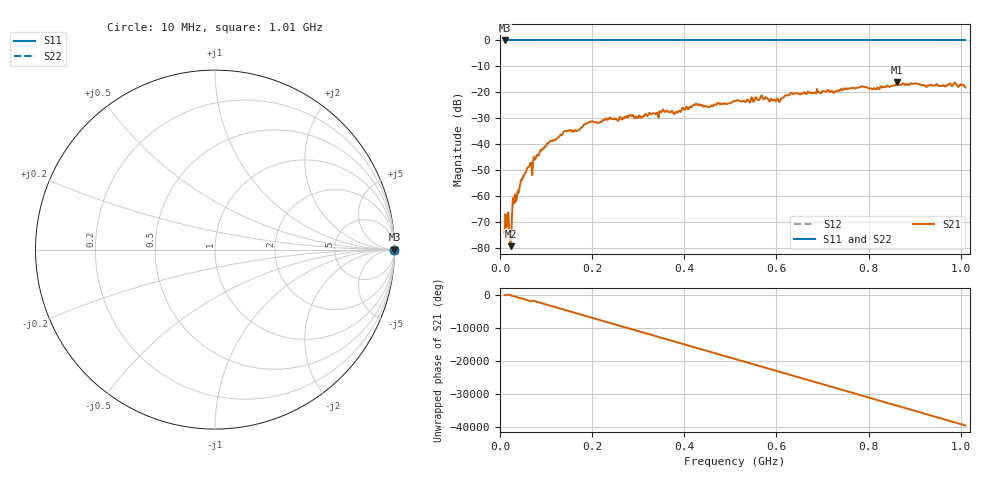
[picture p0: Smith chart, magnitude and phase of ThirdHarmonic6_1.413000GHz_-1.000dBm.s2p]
! 8/16/2025 4:12:52 PM
! C:\ANRITSUVNA\TEMP\TEMP.S2P
! CHANNEL.1
! TR.MEASUREMENT
! RAW.DATA
! RF.CORRECTION.OFF
! AVERAGING.OFF
! IF.BANDWIDTH: 5KHZ
! SWEEPTYPE:  FREQ.SWEEP(Linear)
! Reference Plane Port Info
! PORT:  PORT1  PORT2
! DISTANCE:  0  m  0  m
! TIME:  0  s  0  s
! PHASE.OFFSET:  0  deg.  0  deg.
! LOSS:  0  dB  0  dB
! REF.LOSS:  0  dB  0  dB
! REF.FREQ:  0  Hz  0  Hz
! Power Info
! POWER:  -20  dBm  -20  dBm
! EFF.POWER:  -20  dBm  -20  dBm
! SOURCE.ATTEN:  0  dB  0  dB
! TEST.ATTEN:  0  dB  0  dB
# GHZ S RI R 50.0
! FREQ.GHZ  S11RE  S11IM  S21RE  S21IM  S12RE  S12IM  S22RE  S22IM
!; PortSelection: Port_12
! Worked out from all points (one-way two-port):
!   501 points, 10 MHz to 1.01 GHz, reference 50 ohm
!   highest |S21| = -16.22 dB at 862 MHz (marker M1); lowest = -79.4 dB at 24 MHz (marker M2)
!   lowest |S11| = 0.0 dB at 10 MHz (marker M3)
!   |S11| at or under -10 dB: nowhere
!   |S22| runs from 0.0 to 0.0 dB; largest |S21 - S12| = 1.1
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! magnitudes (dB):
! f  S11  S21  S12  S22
! 10 MHz  0.0  -74.1  0.0  0.0
! 16 MHz  0.0  -68.3  0.0  0.0
! 20 MHz  0.0  -73.1  0.0  0.0
! 24 MHz  0.0  -79.4  0.0  0.0
! 30 MHz  0.0  -62.9  0.0  0.0
! 32 MHz  0.0  -59.5  0.0  0.0
! 38 MHz  0.0  -58.2  0.0  0.0
! 48 MHz  0.0  -53.7  0.0  0.0
! 62 MHz  0.0  -48.9  0.0  0.0
! 106 MHz  0.0  -39.4  0.0  0.0
! 142 MHz  0.0  -35.1  0.0  0.0
! 178 MHz  0.0  -33.5  0.0  0.0
! 234 MHz  0.0  -30.7  0.0  0.0
! 344 MHz  0.0  -29.8  0.0  0.0
! 510 MHz  0.0  -23.3  0.0  0.0
! 570 MHz  0.0  -22.2  0.0  0.0
! 604 MHz  0.0  -22.9  0.0  0.0
! 634 MHz  0.0  -20.3  0.0  0.0
! 678 MHz  0.0  -20.4  0.0  0.0
! 844 MHz  0.0  -17.9  0.0  0.0
! 862 MHz  0.0  -16.2  0.0  0.0
! 1.01 GHz  0.0  -18.1  0.0  0.0
